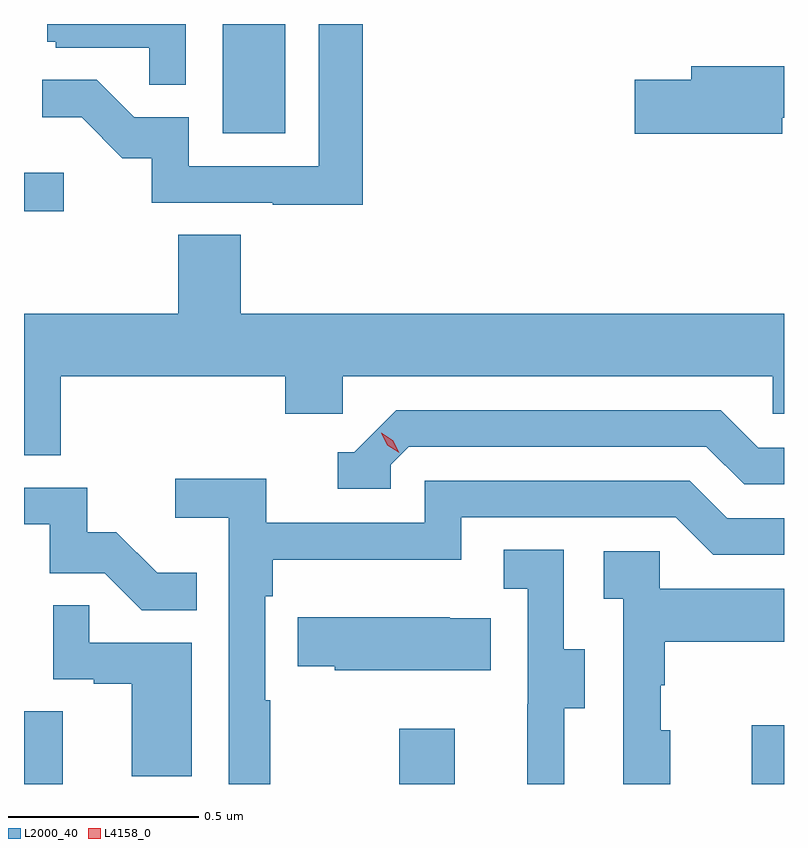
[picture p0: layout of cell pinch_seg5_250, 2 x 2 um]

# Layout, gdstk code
import gdstk
lib = gdstk.Library(unit=1e-6, precision=1e-09)
def R(c, l, rs):  # rectangles x0, y0, x1, y1
    for r in rs: c.add(gdstk.rectangle(r[:2], r[2:], *l))
def P(c, l, *ps):  # polygons
    for p in ps: c.add(gdstk.Polygon(p, *l))
L2000_40 = (2000, 40)
L4158_0 = (4158, 0)

pinch_seg5_250 = lib.new_cell('pinch_seg5_250')
R(pinch_seg5_250, L2000_40, [(938.509,896.979,938.611,897.17), (939.496,896.979,939.643,897.124), (940.424,896.979,940.509,897.133), (938.509,898.486,938.614,898.588), (939.032,898.692,939.196,898.979)])
P(pinch_seg5_250, L2000_40, [(938.934,898.979),(938.57,898.979),(938.57,898.932),(938.592,898.932),(938.592,898.917),(938.839,898.917),(938.839,898.819),(938.934,898.819)],
  [(939.401,898.979),(939.285,898.979),(939.285,898.605),(938.943,898.605),(938.943,898.734),(938.799,898.734),(938.701,898.832),(938.557,898.832),(938.557,898.733),(938.661,898.733),(938.768,898.626),(938.845,898.626),(938.845,898.509),(939.163,898.509),(939.163,898.504),(939.401,898.504)],
  [(940.504,898.732),(940.509,898.732),(940.509,898.868),(940.265,898.868),(940.265,898.832),(940.116,898.832),(940.116,898.69),(940.504,898.69)],
  [(938.606,898.052),(939.197,898.052),(939.197,897.954),(939.348,897.954),(939.348,898.052),(940.479,898.052),(940.479,897.954),(940.509,897.954),(940.509,898.216),(939.08,898.216),(939.08,898.424),(938.915,898.424),(938.915,898.216),(938.509,898.216),(938.509,897.844),(938.606,897.844)],
  [(939.474,897.819),(939.522,897.867),(940.305,897.867),(940.404,897.768),(940.509,897.768),(940.509,897.864),(940.441,897.864),(940.342,897.963),(939.489,897.963),(939.378,897.852),(939.335,897.852),(939.335,897.756),(939.474,897.756)],
  [(939.157,897.2),(939.144,897.2),(939.144,897.473),(939.164,897.473),(939.164,897.569),(939.66,897.569),(939.66,897.681),(940.224,897.681),(940.323,897.582),(940.509,897.582),(940.509,897.678),(940.36,897.678),(940.261,897.777),(939.564,897.777),(939.564,897.666),(939.146,897.666),(939.146,897.782),(938.907,897.782),(938.907,897.68),(939.048,897.68),(939.048,896.979),(939.157,896.979)],
  [(938.963,897.535),(938.859,897.535),(938.752,897.642),(938.676,897.642),(938.676,897.759),(938.509,897.759),(938.509,897.663),(938.577,897.663),(938.577,897.534),(938.721,897.534),(938.819,897.436),(938.963,897.436)],
  [(939.931,897.178),(939.985,897.178),(939.985,897.333),(939.93,897.333),(939.93,897.596),(939.771,897.596),(939.771,897.493),(939.834,897.493),(939.834,897.189),(939.833,897.189),(939.833,896.979),(939.931,896.979)],
  [(940.21,897.12),(940.185,897.12),(940.185,897.239),(940.195,897.239),(940.195,897.353),(940.509,897.353),(940.509,897.493),(940.182,897.493),(940.182,897.591),(940.035,897.591),(940.035,897.467),(940.086,897.467),(940.086,896.979),(940.21,896.979)],
  [(938.95,897.351),(938.681,897.351),(938.681,897.449),(938.586,897.449),(938.586,897.255),(938.693,897.255),(938.693,897.243),(938.792,897.243),(938.792,897),(938.95,897)],
  [(939.737,897.415),(939.629,897.415),(939.629,897.418),(939.229,897.418),(939.229,897.289),(939.327,897.289),(939.327,897.278),(939.737,897.278)])
P(pinch_seg5_250, L4158_0, [(939.496,897.851),(939.465,897.871),(939.449,897.903),(939.449,897.903),(939.449,897.903),(939.48,897.884),(939.496,897.851),(939.496,897.851)])

lib.write_gds('pinch_seg5_250.gds')
